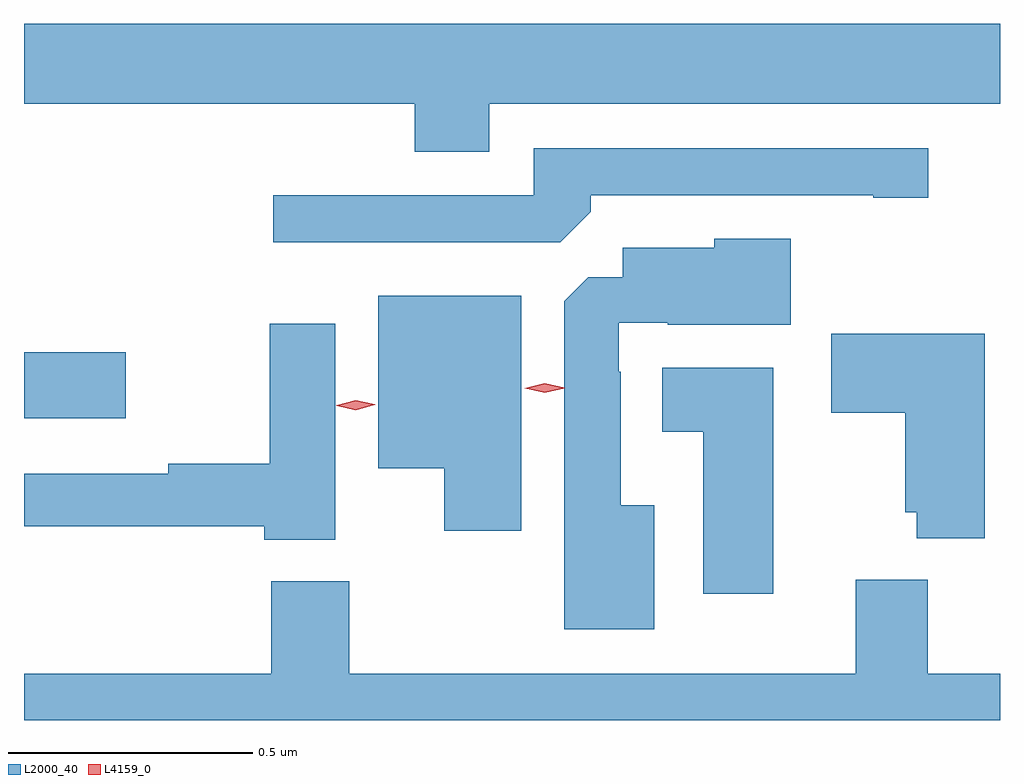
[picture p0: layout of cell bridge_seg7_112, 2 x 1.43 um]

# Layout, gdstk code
import gdstk
lib = gdstk.Library(unit=1e-6, precision=1e-09)
def R(c, l, rs):  # rectangles x0, y0, x1, y1
    for r in rs: c.add(gdstk.rectangle(r[:2], r[2:], *l))
def P(c, l, *ps):  # polygons
    for p in ps: c.add(gdstk.Polygon(p, *l))
L2000_40 = (2000, 40)
L4159_0 = (4159, 0)

bridge_seg7_112 = lib.new_cell('bridge_seg7_112')
R(bridge_seg7_112, L2000_40, [(1090.154,1021.283,1090.363,1021.418)])
P(bridge_seg7_112, L2000_40, [(1091.107,1021.928),(1092.154,1021.928),(1092.154,1022.092),(1090.154,1022.092),(1090.154,1021.928),(1090.955,1021.928),(1090.955,1021.829),(1091.107,1021.829)],
  [(1091.315,1021.706),(1091.315,1021.74),(1091.894,1021.74),(1091.894,1021.735),(1092.007,1021.735),(1092.007,1021.836),(1091.199,1021.836),(1091.199,1021.74),(1090.665,1021.74),(1090.665,1021.644),(1091.253,1021.644)],
  [(1091.446,1021.105),(1091.377,1021.105),(1091.377,1021.379),(1091.373,1021.379),(1091.373,1021.479),(1091.473,1021.479),(1091.473,1021.475),(1091.725,1021.475),(1091.725,1021.651),(1091.568,1021.651),(1091.568,1021.633),(1091.381,1021.633),(1091.381,1021.572),(1091.31,1021.572),(1091.261,1021.523),(1091.261,1020.851),(1091.446,1020.851)],
  [(1091.173,1021.534),(1090.88,1021.534),(1090.88,1021.181),(1091.015,1021.181),(1091.015,1021.053),(1091.173,1021.053)],
  [(1090.792,1021.477),(1090.658,1021.477),(1090.658,1021.19),(1090.45,1021.19),(1090.45,1021.17),(1090.154,1021.17),(1090.154,1021.062),(1090.646,1021.062),(1090.646,1021.034),(1090.792,1021.034)],
  [(1092.123,1021.456),(1091.808,1021.456),(1091.808,1021.294),(1091.96,1021.294),(1091.96,1021.091),(1091.983,1021.091),(1091.983,1021.037),(1092.123,1021.037)],
  [(1091.689,1021.387),(1091.462,1021.387),(1091.462,1021.256),(1091.546,1021.256),(1091.546,1020.924),(1091.689,1020.924)],
  [(1092.154,1020.76),(1092.006,1020.76),(1092.006,1020.952),(1091.858,1020.952),(1091.858,1020.76),(1090.821,1020.76),(1090.821,1020.949),(1090.661,1020.949),(1090.661,1020.76),(1090.154,1020.76),(1090.154,1020.664),(1092.154,1020.664)])
P(bridge_seg7_112, L4159_0, [(1091.221,1021.335),(1091.18,1021.345),(1091.18,1021.345),(1091.18,1021.345),(1091.221,1021.355),(1091.262,1021.346),(1091.262,1021.345),(1091.262,1021.345)],
  [(1090.834,1021.3),(1090.795,1021.309),(1090.794,1021.31),(1090.795,1021.31),(1090.834,1021.32),(1090.873,1021.312),(1090.874,1021.311),(1090.873,1021.311)])

lib.write_gds('bridge_seg7_112.gds')
